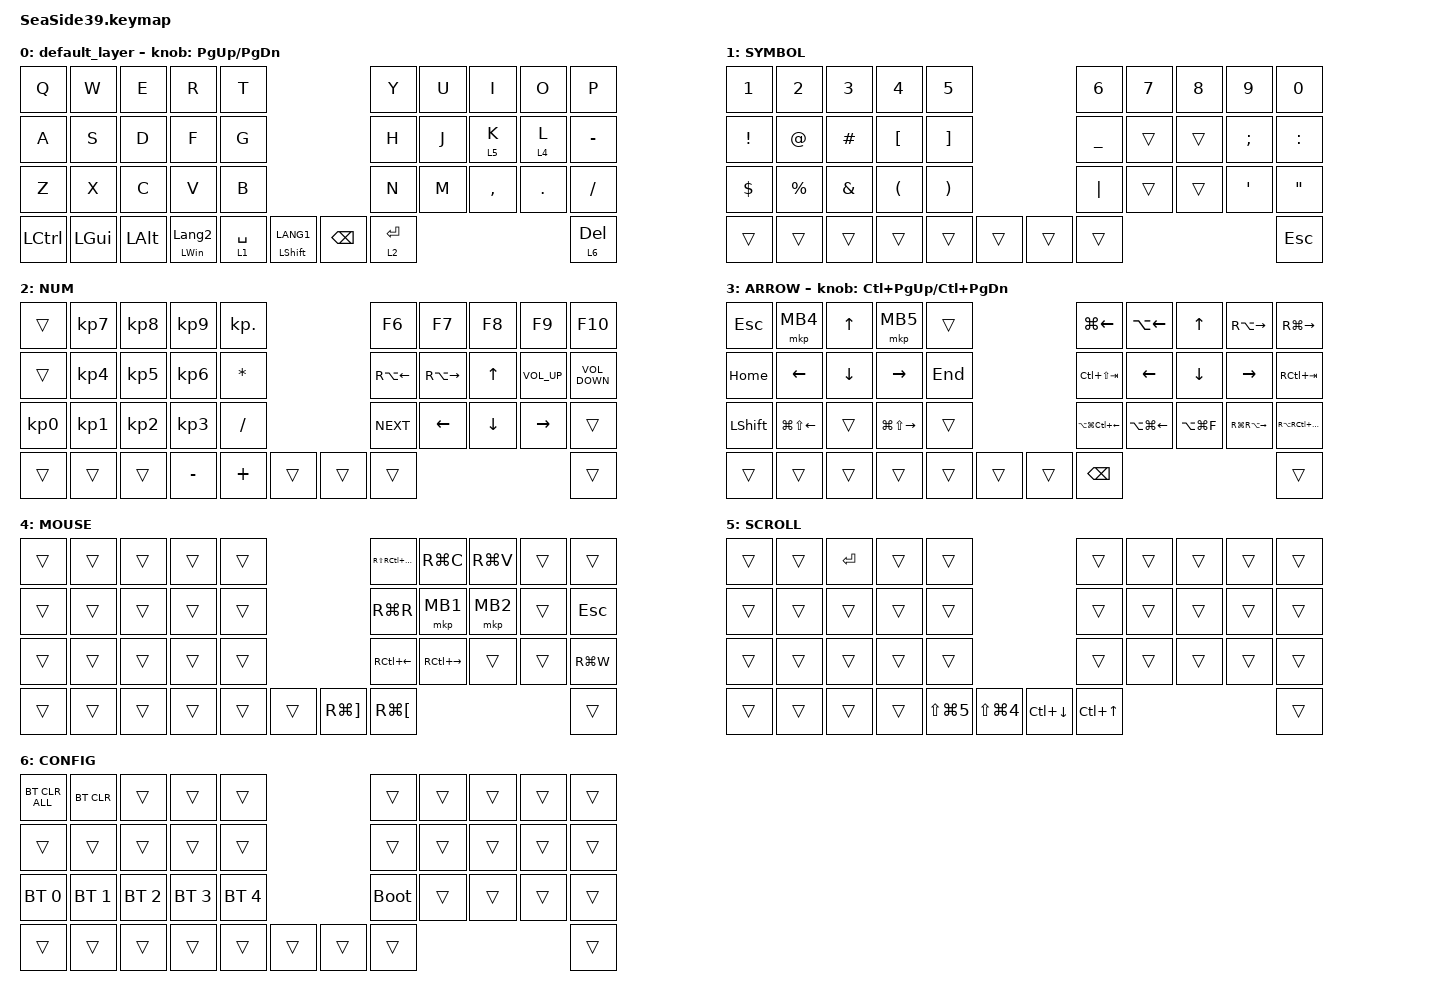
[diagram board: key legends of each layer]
#include <behaviors.dtsi>
#include <dt-bindings/zmk/bt.h>
#include <dt-bindings/zmk/keys.h>
#include <dt-bindings/zmk/pointing.h>

#define MOUSE 4
#define SCROLL 5
#define NUM 6

&mt {
    flavor = "balanced";
    quick-tap-ms = <300>;
};

&lt {
    flavor = "balanced";
    quick-tap-ms = <300>;
};

/ {
    combos { compatible = "zmk,combos"; };

    macros {
        to_layer_0: to_layer_0 {
            compatible = "zmk,behavior-macro-one-param";
            #binding-cells = <1>;
            bindings = <&to 0 &macro_param_1to1 &kp MACRO_PLACEHOLDER>;
            label = "TO_LAYER_0";
        };
    };

    behaviors {
        lt_to_layer_0: lt_to_layer_0 {
            compatible = "zmk,behavior-hold-tap";
            label = "LAYER_TAP_TO_0";
            bindings = <&mo>, <&to_layer_0>;

            #binding-cells = <2>;
            tapping-term-ms = <200>;
        };
    };

    keymap {
        compatible = "zmk,keymap";

        default_layer {
            bindings = <
&kp Q      &kp W         &kp E         &kp R                    &kp T                                                 &kp Y        &kp U  &kp I      &kp O       &kp P
&kp A      &kp S         &kp D         &kp F                    &kp G                                                 &kp H        &kp J  &lt 5 K    &lt 4 L     &kp MINUS
&kp Z      &kp X         &kp C         &kp V                    &kp B                                                 &kp N        &kp M  &kp COMMA  &kp PERIOD  &kp SLASH
&kp LCTRL  &kp LEFT_GUI  &kp LEFT_ALT  &mt LEFT_WIN LANGUAGE_2  &lt 1 SPACE  &mt LEFT_SHIFT LANG1      &kp BACKSPACE  &lt 2 ENTER                                &lt 6 DELETE
            >;

            sensor-bindings = <&inc_dec_kp PG_UP PAGE_DOWN>;
        };

        SYMBOL {
            bindings = <
&kp NUMBER_1     &kp NUMBER_2  &kp NUMBER_3   &kp NUMBER_4          &kp N5                                     &kp NUMBER_6    &kp N7  &kp N8  &kp N9    &kp N0
&kp EXCLAMATION  &kp AT_SIGN   &kp HASH       &kp LEFT_BRACKET      &kp RIGHT_BRACKET                          &kp UNDERSCORE  &trans  &trans  &kp SEMI  &kp COLON
&kp DOLLAR       &kp PERCENT   &kp AMPERSAND  &kp LEFT_PARENTHESIS  &kp RIGHT_PARENTHESIS                      &kp PIPE        &trans  &trans  &kp SQT   &kp DOUBLE_QUOTES
&trans           &trans        &trans         &trans                &trans                 &trans      &trans  &trans                                    &kp ESC
            >;
        };

        NUM {
            bindings = <
&trans           &kp KP_NUMBER_7  &kp KP_NUMBER_8  &kp KP_NUMBER_9  &kp KP_DOT                        &kp F6              &kp F7               &kp F8          &kp F9           &kp F10
&trans           &kp KP_NUMBER_4  &kp KP_NUMBER_5  &kp KP_NUMBER_6  &kp ASTERISK                      &kp RA(LEFT_ARROW)  &kp RA(RIGHT_ARROW)  &kp UP_ARROW    &kp C_VOLUME_UP  &kp C_VOLUME_DOWN
&kp KP_NUMBER_0  &kp KP_NUMBER_1  &kp KP_NUMBER_2  &kp KP_NUMBER_3  &kp SLASH                         &kp C_NEXT          &kp LEFT_ARROW       &kp DOWN_ARROW  &kp RIGHT_ARROW  &trans
&trans           &trans           &trans           &kp MINUS        &kp PLUS      &trans      &trans  &trans                                                                    &trans
            >;
        };

        ARROW {
            bindings = <
&kp ESCAPE      &mkp MB4                &kp UP_ARROW    &mkp MB5                 &trans                       &kp LG(LEFT_ARROW)          &kp LA(LEFT_ARROW)      &kp UP_ARROW    &kp RA(RIGHT_ARROW)      &kp RG(RIGHT_ARROW)
&kp HOME        &kp LEFT_ARROW          &kp DOWN_ARROW  &kp RIGHT_ARROW          &kp END                      &kp LC(LS(TAB))             &kp LEFT_ARROW          &kp DOWN_ARROW  &kp RIGHT_ARROW          &kp RC(TAB)
&kp LEFT_SHIFT  &kp LG(LS(LEFT_ARROW))  &trans          &kp LG(LS(RIGHT_ARROW))  &trans                       &kp LA(LG(LC(LEFT_ARROW)))  &kp LA(LG(LEFT_ARROW))  &kp LA(LG(F))   &kp RG(RA(RIGHT_ARROW))  &kp RA(RC(RG(RIGHT_ARROW)))
&trans          &trans                  &trans          &trans                   &trans   &trans      &trans  &kp BACKSPACE                                                                                &trans
            >;

            sensor-bindings = <&inc_dec_kp LC(PAGE_UP) LC(PAGE_DOWN)>;
        };

        MOUSE {
            bindings = <
&trans  &trans  &trans  &trans  &trans                                     &kp RS(RC(RG(NUMBER_4)))  &kp RG(C)            &kp RG(V)  &trans  &trans
&trans  &trans  &trans  &trans  &trans                                     &kp RG(R)                 &mkp MB1             &mkp MB2   &trans  &kp ESCAPE
&trans  &trans  &trans  &trans  &trans                                     &kp RC(LEFT_ARROW)        &kp RC(RIGHT_ARROW)  &trans     &trans  &kp RG(W)
&trans  &trans  &trans  &trans  &trans  &trans      &kp RG(RIGHT_BRACKET)  &kp RG(LEFT_BRACKET)                                              &trans
            >;
        };

        SCROLL {
            bindings = <
&trans  &trans  &kp ENTER  &trans  &trans                                            &trans            &trans  &trans  &trans  &trans
&trans  &trans  &trans     &trans  &trans                                            &trans            &trans  &trans  &trans  &trans
&trans  &trans  &trans     &trans  &trans                                            &trans            &trans  &trans  &trans  &trans
&trans  &trans  &trans     &trans  &kp LS(LG(N5))  &kp LS(LG(N4))      &kp LC(DOWN)  &kp LC(UP_ARROW)                          &trans
            >;
        };

        CONFIG {
            bindings = <
&bt BT_CLR_ALL  &bt BT_CLR    &trans        &trans        &trans                            &trans       &trans  &trans  &trans  &trans
&trans          &trans        &trans        &trans        &trans                            &trans       &trans  &trans  &trans  &trans
&bt BT_SEL 0    &bt BT_SEL 1  &bt BT_SEL 2  &bt BT_SEL 3  &bt BT_SEL 4                      &bootloader  &trans  &trans  &trans  &trans
&trans          &trans        &trans        &trans        &trans        &trans      &trans  &trans                               &trans
            >;
        };
    };
};
